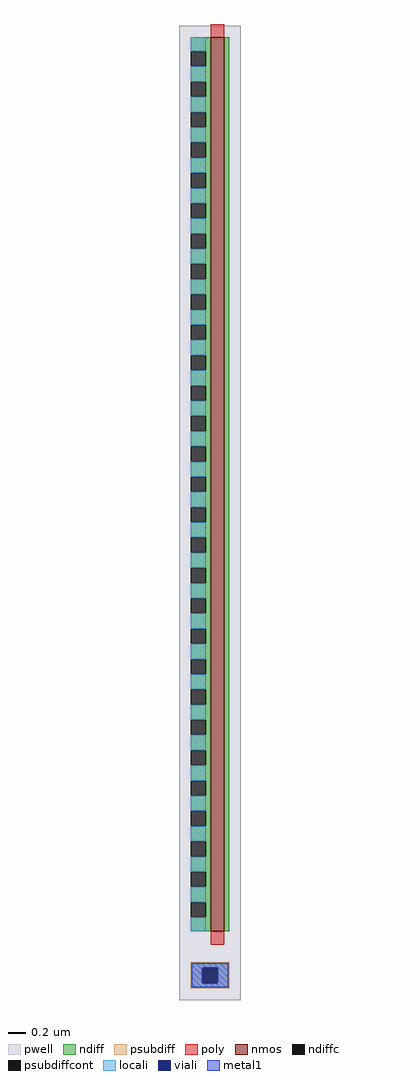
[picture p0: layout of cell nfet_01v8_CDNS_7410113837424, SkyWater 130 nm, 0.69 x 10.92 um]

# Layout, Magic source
magic
tech sky130A
magscale 1 2
<< pwell >>
rect -71 -154 67 2026
<< nmos >>
rect 0 0 30 2000
<< ndiff >>
rect -45 1969 0 2000
rect -11 1935 0 1969
rect -45 1901 0 1935
rect -11 1867 0 1901
rect -45 1833 0 1867
rect -11 1799 0 1833
rect -45 1765 0 1799
rect -11 1731 0 1765
rect -45 1697 0 1731
rect -11 1663 0 1697
rect -45 1629 0 1663
rect -11 1595 0 1629
rect -45 1561 0 1595
rect -11 1527 0 1561
rect -45 1493 0 1527
rect -11 1459 0 1493
rect -45 1425 0 1459
rect -11 1391 0 1425
rect -45 1357 0 1391
rect -11 1323 0 1357
rect -45 1289 0 1323
rect -11 1255 0 1289
rect -45 1221 0 1255
rect -11 1187 0 1221
rect -45 1153 0 1187
rect -11 1119 0 1153
rect -45 1085 0 1119
rect -11 1051 0 1085
rect -45 1017 0 1051
rect -11 983 0 1017
rect -45 949 0 983
rect -11 915 0 949
rect -45 881 0 915
rect -11 847 0 881
rect -45 813 0 847
rect -11 779 0 813
rect -45 745 0 779
rect -11 711 0 745
rect -45 677 0 711
rect -11 643 0 677
rect -45 609 0 643
rect -11 575 0 609
rect -45 541 0 575
rect -11 507 0 541
rect -45 473 0 507
rect -11 439 0 473
rect -45 405 0 439
rect -11 371 0 405
rect -45 337 0 371
rect -11 303 0 337
rect -45 269 0 303
rect -11 235 0 269
rect -45 201 0 235
rect -11 167 0 201
rect -45 133 0 167
rect -11 99 0 133
rect -45 65 0 99
rect -11 31 0 65
rect -45 0 0 31
rect 30 0 41 2000
<< ndiffc >>
rect -45 1935 -11 1969
rect -45 1867 -11 1901
rect -45 1799 -11 1833
rect -45 1731 -11 1765
rect -45 1663 -11 1697
rect -45 1595 -11 1629
rect -45 1527 -11 1561
rect -45 1459 -11 1493
rect -45 1391 -11 1425
rect -45 1323 -11 1357
rect -45 1255 -11 1289
rect -45 1187 -11 1221
rect -45 1119 -11 1153
rect -45 1051 -11 1085
rect -45 983 -11 1017
rect -45 915 -11 949
rect -45 847 -11 881
rect -45 779 -11 813
rect -45 711 -11 745
rect -45 643 -11 677
rect -45 575 -11 609
rect -45 507 -11 541
rect -45 439 -11 473
rect -45 371 -11 405
rect -45 303 -11 337
rect -45 235 -11 269
rect -45 167 -11 201
rect -45 99 -11 133
rect -45 31 -11 65
<< psubdiff >>
rect -45 -82 41 -70
rect -45 -116 -19 -82
rect 15 -116 41 -82
rect -45 -128 41 -116
<< psubdiffcont >>
rect -19 -116 15 -82
<< poly >>
rect 0 2000 30 2030
rect 0 -30 30 0
<< locali >>
rect -45 1969 -11 2000
rect -45 1901 -11 1935
rect -45 1833 -11 1867
rect -45 1765 -11 1799
rect -45 1697 -11 1731
rect -45 1629 -11 1663
rect -45 1561 -11 1595
rect -45 1493 -11 1527
rect -45 1425 -11 1459
rect -45 1357 -11 1391
rect -45 1289 -11 1323
rect -45 1221 -11 1255
rect -45 1153 -11 1187
rect -45 1085 -11 1119
rect -45 1017 -11 1051
rect -45 949 -11 983
rect -45 881 -11 915
rect -45 813 -11 847
rect -45 745 -11 779
rect -45 677 -11 711
rect -45 609 -11 643
rect -45 541 -11 575
rect -45 473 -11 507
rect -45 405 -11 439
rect -45 337 -11 371
rect -45 269 -11 303
rect -45 201 -11 235
rect -45 133 -11 167
rect -45 65 -11 99
rect -45 0 -11 31
rect -43 -82 39 -72
rect -43 -116 -19 -82
rect 15 -116 39 -82
rect -43 -126 39 -116
<< viali >>
rect -19 -116 15 -82
<< metal1 >>
rect -43 -82 39 -72
rect -43 -116 -19 -82
rect 15 -116 39 -82
rect -43 -126 39 -116
<< end >>
